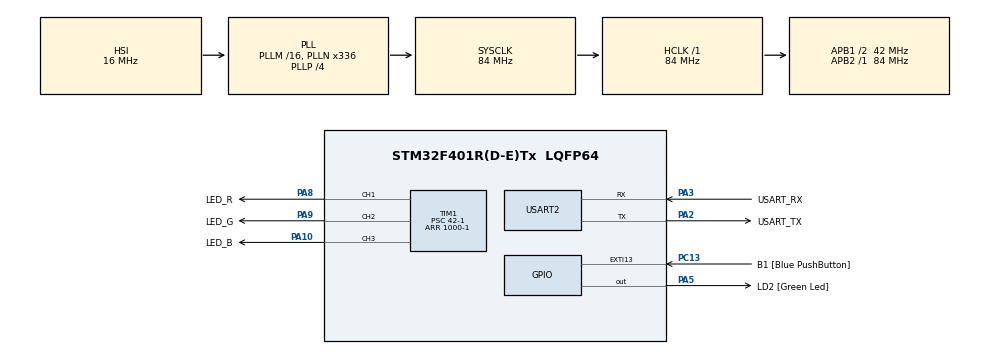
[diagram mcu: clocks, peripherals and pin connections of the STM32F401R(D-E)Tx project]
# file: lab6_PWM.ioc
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Mcu.Family=STM32F4
Mcu.Name=STM32F401R(D-E)Tx
Mcu.Package=LQFP64
NVIC.PriorityGroup=NVIC_PRIORITYGROUP_0
NVIC.TIM1_UP_TIM10_IRQn=true\:0\:0\:false\:false\:true\:true\:true\:true
PA10.GPIO_Label=LED_B
PA10.Signal=S_TIM1_CH3
PA13.GPIO_Label=TMS
PA13.Mode=Serial_Wire
PA13.Signal=SYS_JTMS-SWDIO
PA14.GPIO_Label=TCK
PA14.Mode=Serial_Wire
PA14.Signal=SYS_JTCK-SWCLK
PA2.GPIO_Label=USART_TX
PA2.GPIO_Mode=GPIO_MODE_AF_PP
PA2.GPIO_PuPd=GPIO_NOPULL
PA2.GPIO_Speed=GPIO_SPEED_FREQ_LOW
PA2.Mode=Asynchronous
PA2.Signal=USART2_TX
PA3.GPIO_Label=USART_RX
PA3.GPIO_Mode=GPIO_MODE_AF_PP
PA3.GPIO_PuPd=GPIO_NOPULL
PA3.GPIO_Speed=GPIO_SPEED_FREQ_LOW
PA3.Mode=Asynchronous
PA3.Signal=USART2_RX
PA5.GPIO_Label=LD2 [Green Led]
PA5.GPIO_Mode=GPIO_MODE_OUTPUT_PP
PA5.GPIO_PuPd=GPIO_NOPULL
PA5.GPIO_Speed=GPIO_SPEED_FREQ_LOW
PA5.Signal=GPIO_Output
PA8.GPIO_Label=LED_R
PA8.Signal=S_TIM1_CH1
PA9.GPIO_Label=LED_G
PA9.Signal=S_TIM1_CH2
PB3.GPIO_Label=SWO
PB3.Signal=SYS_JTDO-SWO
PC13-ANTI_TAMP.GPIO_Label=B1 [Blue PushButton]
PC13-ANTI_TAMP.GPIO_ModeDefaultEXTI=GPIO_MODE_IT_FALLING
PC13-ANTI_TAMP.GPIO_PuPd=GPIO_NOPULL
PC13-ANTI_TAMP.Signal=GPXTI13
PC14-OSC32_IN.Mode=LSE-External-Oscillator
PC14-OSC32_IN.Signal=RCC_OSC32_IN
PC15-OSC32_OUT.Mode=LSE-External-Oscillator
PC15-OSC32_OUT.Signal=RCC_OSC32_OUT
PH0\ -\ OSC_IN.Mode=HSE-External-Clock-Source
PH0\ -\ OSC_IN.Signal=RCC_OSC_IN
PH1\ -\ OSC_OUT.Mode=HSE-External-Clock-Source
PH1\ -\ OSC_OUT.Signal=RCC_OSC_OUT
ProjectManager.HeapSize=0x200
ProjectManager.StackSize=0x400
ProjectManager.TargetToolchain=STM32CubeIDE
RCC.48MHZClocksFreq_Value=48000000
RCC.AHBFreq_Value=84000000
RCC.APB1CLKDivider=RCC_HCLK_DIV2
RCC.APB1Freq_Value=42000000
RCC.APB1TimFreq_Value=84000000
RCC.APB2Freq_Value=84000000
RCC.APB2TimFreq_Value=84000000
RCC.CortexFreq_Value=84000000
RCC.HCLKFreq_Value=84000000
RCC.HSE_VALUE=8000000
RCC.HSI_VALUE=16000000
RCC.PLLN=336
RCC.PLLP=RCC_PLLP_DIV4
RCC.PLLQ=7
RCC.SYSCLKFreq_VALUE=84000000
RCC.SYSCLKSource=RCC_SYSCLKSOURCE_PLLCLK
RCC.VCOOutputFreq_Value=336000000
SH.S_TIM1_CH1.0=TIM1_CH1,PWM Generation1 CH1
SH.S_TIM1_CH2.0=TIM1_CH2,PWM Generation2 CH2
SH.S_TIM1_CH3.0=TIM1_CH3,PWM Generation3 CH3
TIM1.Channel-PWM\ Generation1\ CH1=TIM_CHANNEL_1
TIM1.Channel-PWM\ Generation2\ CH2=TIM_CHANNEL_2
TIM1.Channel-PWM\ Generation3\ CH3=TIM_CHANNEL_3
TIM1.Period=1000-1
TIM1.Prescaler=42-1
USART2.VirtualMode=VM_ASYNC
VP_TIM1_VS_ClockSourceINT.Mode=Internal
board=NUCLEO-F401RE

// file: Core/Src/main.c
/* USER CODE BEGIN Header */
/**
  ******************************************************************************
  * @file           : main.c
  * @brief          : Main program body
  ******************************************************************************
  * @attention
  *
  * Copyright (c) 2024 STMicroelectronics.
  * All rights reserved.
  *
  * This software is licensed under terms that can be found in the LICENSE file
  * in the root directory of this software component.
  * If no LICENSE file comes with this software, it is provided AS-IS.
  *
  ******************************************************************************
  */
/* USER CODE END Header */
#include "main.h"

/* USER CODE BEGIN Includes */
#include <math.h>
/* USER CODE END Includes */

TIM_HandleTypeDef htim1;

UART_HandleTypeDef huart2;

/* USER CODE BEGIN PV */

float freq = 2000;
uint32_t isr_count;

uint8_t callback_occured = 0;

/* USER CODE END PV */

void SystemClock_Config(void);
static void MX_GPIO_Init(void);
static void MX_USART2_UART_Init(void);
static void MX_TIM1_Init(void);

/* USER CODE BEGIN 0 */

void HAL_TIM_PeriodElapsedCallback( TIM_HandleTypeDef *htim )
{
	  isr_count++;
	  callback_occured = 1;
}

/* USER CODE END 0 */

int main(void)
{

  /* MCU Configuration--------------------------------------------------------*/

  /* Reset of all peripherals, Initializes the Flash interface and the Systick. */
  HAL_Init();

  /* Configure the system clock */
  SystemClock_Config();

  /* Initialize all configured peripherals */
  MX_GPIO_Init();
  MX_USART2_UART_Init();
  MX_TIM1_Init();

  /* Infinite loop */
  /* USER CODE BEGIN WHILE */

  static float t = 0.0f;
  const float offset = M_TWOPI / 3.0f;
  const float half_arr = 50.0f; /* set to (ARR+1) / 2.0f !!! */

  float rf;
  float gf;
  float bf;

  HAL_TIM_Base_Start_IT(&htim1);

  HAL_TIM_PWM_Start(&htim1, TIM_CHANNEL_1);
  HAL_TIM_PWM_Start(&htim1, TIM_CHANNEL_2);
  HAL_TIM_PWM_Start(&htim1, TIM_CHANNEL_3);

  while (1)
  {

	//uint32_t duty = (isr_count / 32) % 100;
	//__HAL_TIM_SET_COMPARE(&htim1, TIM_CHANNEL_1, duty);

	  if(callback_occured == 1)
	  {
		  rf = sinf((M_TWOPI * t * freq) + (0 * offset));
		  gf = sinf((M_TWOPI * t * freq) + (1 * offset));
		  bf = sinf((M_TWOPI * t * freq) + (2 * offset));

		  rf = (rf + 1.0) * half_arr;
		  gf = (gf + 1.0) * half_arr;
		  bf = (bf + 1.0) * half_arr;
		  t += 0.0005; // should be (1 / f_TIM)

		  /* Code for setting PWM duty cycles goes here */

		  __HAL_TIM_SET_COMPARE(&htim1, TIM_CHANNEL_1, rf);
		  __HAL_TIM_SET_COMPARE(&htim1, TIM_CHANNEL_2, gf);
		  __HAL_TIM_SET_COMPARE(&htim1, TIM_CHANNEL_3, bf);

		  callback_occured = 0;
	  }

    /* USER CODE END WHILE */

  }
}

void SystemClock_Config(void)
{
  RCC_OscInitTypeDef RCC_OscInitStruct = {0};
  RCC_ClkInitTypeDef RCC_ClkInitStruct = {0};

  /** Configure the main internal regulator output voltage
  */
  __HAL_RCC_PWR_CLK_ENABLE();
  __HAL_PWR_VOLTAGESCALING_CONFIG(PWR_REGULATOR_VOLTAGE_SCALE2);

  /** Initializes the RCC Oscillators according to the specified parameters
  * in the RCC_OscInitTypeDef structure.
  */
  RCC_OscInitStruct.OscillatorType = RCC_OSCILLATORTYPE_HSI;
  RCC_OscInitStruct.HSIState = RCC_HSI_ON;
  RCC_OscInitStruct.HSICalibrationValue = RCC_HSICALIBRATION_DEFAULT;
  RCC_OscInitStruct.PLL.PLLState = RCC_PLL_ON;
  RCC_OscInitStruct.PLL.PLLSource = RCC_PLLSOURCE_HSI;
  RCC_OscInitStruct.PLL.PLLM = 16;
  RCC_OscInitStruct.PLL.PLLN = 336;
  RCC_OscInitStruct.PLL.PLLP = RCC_PLLP_DIV4;
  RCC_OscInitStruct.PLL.PLLQ = 7;
  if (HAL_RCC_OscConfig(&RCC_OscInitStruct) != HAL_OK)
  {
    Error_Handler();
  }

  /** Initializes the CPU, AHB and APB buses clocks
  */
  RCC_ClkInitStruct.ClockType = RCC_CLOCKTYPE_HCLK|RCC_CLOCKTYPE_SYSCLK
                              |RCC_CLOCKTYPE_PCLK1|RCC_CLOCKTYPE_PCLK2;
  RCC_ClkInitStruct.SYSCLKSource = RCC_SYSCLKSOURCE_PLLCLK;
  RCC_ClkInitStruct.AHBCLKDivider = RCC_SYSCLK_DIV1;
  RCC_ClkInitStruct.APB1CLKDivider = RCC_HCLK_DIV2;
  RCC_ClkInitStruct.APB2CLKDivider = RCC_HCLK_DIV1;

  if (HAL_RCC_ClockConfig(&RCC_ClkInitStruct, FLASH_LATENCY_2) != HAL_OK)
  {
    Error_Handler();
  }
}

static void MX_TIM1_Init(void)
{

  TIM_ClockConfigTypeDef sClockSourceConfig = {0};
  TIM_MasterConfigTypeDef sMasterConfig = {0};
  TIM_OC_InitTypeDef sConfigOC = {0};
  TIM_BreakDeadTimeConfigTypeDef sBreakDeadTimeConfig = {0};

  htim1.Instance = TIM1;
  htim1.Init.Prescaler = 42-1;
  htim1.Init.CounterMode = TIM_COUNTERMODE_UP;
  htim1.Init.Period = 1000-1;
  htim1.Init.ClockDivision = TIM_CLOCKDIVISION_DIV1;
  htim1.Init.RepetitionCounter = 0;
  htim1.Init.AutoReloadPreload = TIM_AUTORELOAD_PRELOAD_DISABLE;
  if (HAL_TIM_Base_Init(&htim1) != HAL_OK)
  {
    Error_Handler();
  }
  sClockSourceConfig.ClockSource = TIM_CLOCKSOURCE_INTERNAL;
  if (HAL_TIM_ConfigClockSource(&htim1, &sClockSourceConfig) != HAL_OK)
  {
    Error_Handler();
  }
  if (HAL_TIM_PWM_Init(&htim1) != HAL_OK)
  {
    Error_Handler();
  }
  sMasterConfig.MasterOutputTrigger = TIM_TRGO_RESET;
  sMasterConfig.MasterSlaveMode = TIM_MASTERSLAVEMODE_DISABLE;
  if (HAL_TIMEx_MasterConfigSynchronization(&htim1, &sMasterConfig) != HAL_OK)
  {
    Error_Handler();
  }
  sConfigOC.OCMode = TIM_OCMODE_PWM1;
  sConfigOC.Pulse = 0;
  sConfigOC.OCPolarity = TIM_OCPOLARITY_HIGH;
  sConfigOC.OCNPolarity = TIM_OCNPOLARITY_HIGH;
  sConfigOC.OCFastMode = TIM_OCFAST_DISABLE;
  sConfigOC.OCIdleState = TIM_OCIDLESTATE_RESET;
  sConfigOC.OCNIdleState = TIM_OCNIDLESTATE_RESET;
  if (HAL_TIM_PWM_ConfigChannel(&htim1, &sConfigOC, TIM_CHANNEL_1) != HAL_OK)
  {
    Error_Handler();
  }
  if (HAL_TIM_PWM_ConfigChannel(&htim1, &sConfigOC, TIM_CHANNEL_2) != HAL_OK)
  {
    Error_Handler();
  }
  if (HAL_TIM_PWM_ConfigChannel(&htim1, &sConfigOC, TIM_CHANNEL_3) != HAL_OK)
  {
    Error_Handler();
  }
  sBreakDeadTimeConfig.OffStateRunMode = TIM_OSSR_DISABLE;
  sBreakDeadTimeConfig.OffStateIDLEMode = TIM_OSSI_DISABLE;
  sBreakDeadTimeConfig.LockLevel = TIM_LOCKLEVEL_OFF;
  sBreakDeadTimeConfig.DeadTime = 0;
  sBreakDeadTimeConfig.BreakState = TIM_BREAK_DISABLE;
  sBreakDeadTimeConfig.BreakPolarity = TIM_BREAKPOLARITY_HIGH;
  sBreakDeadTimeConfig.AutomaticOutput = TIM_AUTOMATICOUTPUT_DISABLE;
  if (HAL_TIMEx_ConfigBreakDeadTime(&htim1, &sBreakDeadTimeConfig) != HAL_OK)
  {
    Error_Handler();
  }
  HAL_TIM_MspPostInit(&htim1);

}

static void MX_USART2_UART_Init(void)
{

  huart2.Instance = USART2;
  huart2.Init.BaudRate = 115200;
  huart2.Init.WordLength = UART_WORDLENGTH_8B;
  huart2.Init.StopBits = UART_STOPBITS_1;
  huart2.Init.Parity = UART_PARITY_NONE;
  huart2.Init.Mode = UART_MODE_TX_RX;
  huart2.Init.HwFlowCtl = UART_HWCONTROL_NONE;
  huart2.Init.OverSampling = UART_OVERSAMPLING_16;
  if (HAL_UART_Init(&huart2) != HAL_OK)
  {
    Error_Handler();
  }

}

static void MX_GPIO_Init(void)
{
  GPIO_InitTypeDef GPIO_InitStruct = {0};

  /* GPIO Ports Clock Enable */
  __HAL_RCC_GPIOC_CLK_ENABLE();
  __HAL_RCC_GPIOH_CLK_ENABLE();
  __HAL_RCC_GPIOA_CLK_ENABLE();
  __HAL_RCC_GPIOB_CLK_ENABLE();

  /*Configure GPIO pin Output Level */
  HAL_GPIO_WritePin(LD2_GPIO_Port, LD2_Pin, GPIO_PIN_RESET);

  /*Configure GPIO pin : B1_Pin */
  GPIO_InitStruct.Pin = B1_Pin;
  GPIO_InitStruct.Mode = GPIO_MODE_IT_FALLING;
  GPIO_InitStruct.Pull = GPIO_NOPULL;
  HAL_GPIO_Init(B1_GPIO_Port, &GPIO_InitStruct);

  /*Configure GPIO pin : LD2_Pin */
  GPIO_InitStruct.Pin = LD2_Pin;
  GPIO_InitStruct.Mode = GPIO_MODE_OUTPUT_PP;
  GPIO_InitStruct.Pull = GPIO_NOPULL;
  GPIO_InitStruct.Speed = GPIO_SPEED_FREQ_LOW;
  HAL_GPIO_Init(LD2_GPIO_Port, &GPIO_InitStruct);

}

void Error_Handler(void)
{
  __disable_irq();
  while (1)
  {
  }
}
